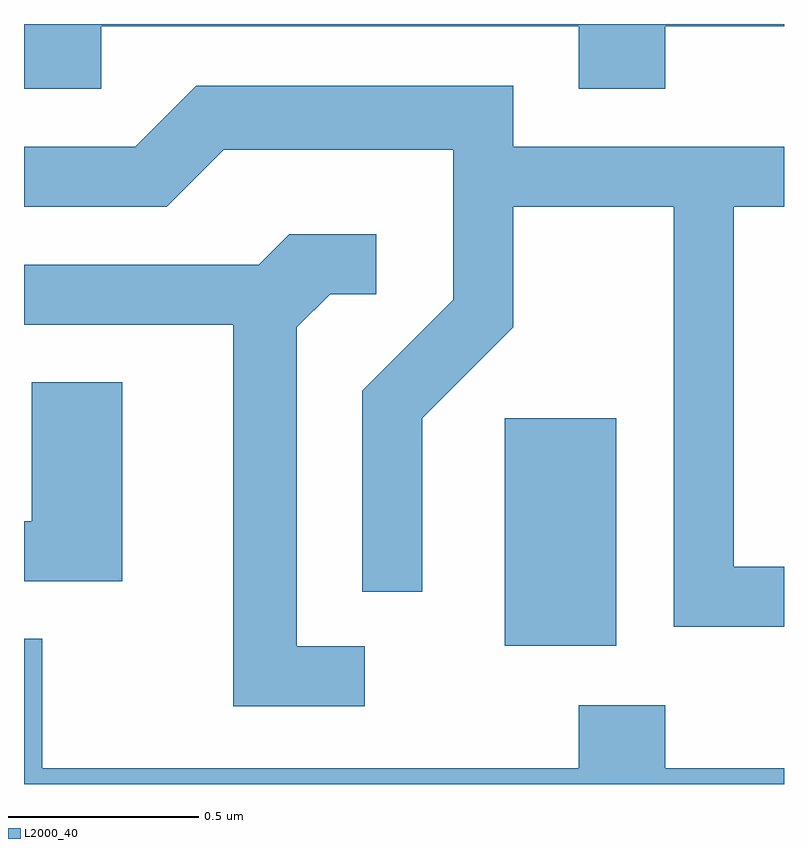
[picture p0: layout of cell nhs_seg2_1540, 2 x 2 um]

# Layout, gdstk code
import gdstk
lib = gdstk.Library(unit=1e-6, precision=1e-09)
def R(c, l, rs):  # rectangles x0, y0, x1, y1
    for r in rs: c.add(gdstk.rectangle(r[:2], r[2:], *l))
def P(c, l, *ps):  # polygons
    for p in ps: c.add(gdstk.Polygon(p, *l))
L2000_40 = (2000, 40)

nhs_seg2_1540 = lib.new_cell('nhs_seg2_1540')
R(nhs_seg2_1540, L2000_40, [(197.876,1011.166,198.169,1011.764)])
P(nhs_seg2_1540, L2000_40, [(196.814,1012.796),(198.071,1012.796),(198.071,1012.631),(198.299,1012.631),(198.299,1012.796),(198.611,1012.796),(198.611,1012.802),(196.611,1012.802),(196.611,1012.631),(196.814,1012.631)],
  [(198.611,1011.374),(198.479,1011.374),(198.479,1012.321),(198.611,1012.321),(198.611,1012.479),(197.899,1012.479),(197.899,1012.639),(197.064,1012.639),(196.904,1012.479),(196.611,1012.479),(196.611,1012.321),(196.987,1012.321),(197.137,1012.471),(197.741,1012.471),(197.741,1012.077),(197.501,1011.837),(197.501,1011.308),(197.659,1011.308),(197.659,1011.764),(197.899,1012.004),(197.899,1012.321),(198.321,1012.321),(198.321,1011.216),(198.611,1011.216)],
  [(197.508,1011.164),(197.329,1011.164),(197.329,1012.004),(197.417,1012.091),(197.538,1012.091),(197.538,1012.249),(197.309,1012.249),(197.229,1012.169),(196.611,1012.169),(196.611,1012.011),(197.161,1012.011),(197.161,1011.006),(197.508,1011.006)],
  [(196.869,1011.859),(196.631,1011.859),(196.631,1011.494),(196.611,1011.494),(196.611,1011.336),(196.869,1011.336)],
  [(198.611,1010.844),(198.299,1010.844),(198.299,1011.009),(198.071,1011.009),(198.071,1010.844),(196.659,1010.844),(196.659,1011.184),(196.611,1011.184),(196.611,1010.802),(198.611,1010.802)])

lib.write_gds('nhs_seg2_1540.gds')
